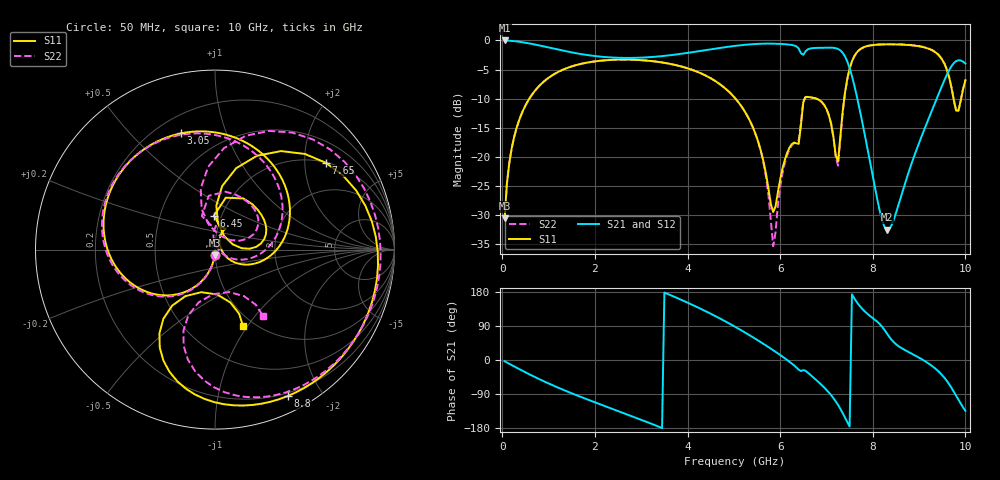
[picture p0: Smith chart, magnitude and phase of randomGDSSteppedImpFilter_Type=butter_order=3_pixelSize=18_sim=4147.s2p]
! freq	dB(S11)	phase(S11)	dB(S12)	phase(S12)
!  dB(S21)	phase(S21)	dB(S22)	phase(S22)
!S-par simulation data
#  GHz  S  DB  R 50
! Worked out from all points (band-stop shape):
!   200 points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, 50 MHz to 10 GHz, reference 50 ohm
!   highest |S21| = -0.01 dB at 50 MHz (marker M1); lowest = -32.5 dB at 8.3 GHz (marker M2)
!   |S21| within 3 dB of the highest: start of sweep to 2.68 GHz; 2.745 GHz to 7.415 GHz (4.67 GHz wide, 91.9 % of centre)
!   lowest |S11| = -30.6 dB at 50 MHz (marker M3), VSWR 1.06, Z = 49.7 - j2.94 ohm
!   |S11| at or under -10 dB: start of sweep to 584.8 MHz; 5.035 GHz to 6.534 GHz (1.499 GHz wide, 25.9 % of centre); 6.785 GHz to 7.384 GHz (599.5 MHz wide, 8.46 % of centre) (the widest 3 of 4)
!   |S22| runs from -35.3 to -0.6 dB; largest |S21 - S12| = 0
!   S11 on the Smith chart (normalised r, x): 50 MHz: 0.99, -0.06; 3.05 GHz: 0.30, +0.71; 6.45 GHz: 0.92, +0.36; 7.65 GHz: 1.01, +2.55; 8.8 GHz: 0.17, -1.60; 10 GHz: 0.89, -0.96
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0.05  -30.57 -93.5  -0.01 -3.4  -0.01 -3.4  -30.59 -93.1
0.2  -18.65 -104.0  -0.08 -13.3  -0.08 -13.3  -18.66 -103.6
0.5  -11.18 -123.6  -0.39 -32.5  -0.39 -32.5  -11.18 -122.6
1.75  -3.94 167.7  -2.41 -100.0  -2.41 -100.0  -3.94 171.2
3.05  -3.42 106.3  -2.94 -160.0  -2.94 -160.0  -3.41 113.1
3.4  -3.72 89.0  -2.73 -177.1  -2.73 -177.1  -3.72 96.7
4.25  -5.52 43.0  -1.84 137.2  -1.84 137.2  -5.51 53.1
5.05  -10.13 -6.1  -0.91 86.1  -0.91 86.1  -10.12 5.3
5.6  -19.45 -34.4  -0.57 45.7  -0.57 45.7  -19.61 -27.9
5.85  -29.47 16.0  -0.56 25.8  -0.56 25.8  -35.33 24.1
6.05  -22.02 68.1  -0.62 9.0  -0.62 9.0  -22.83 97.1
6.45  -14.48 91.9  -2.21 -29.2  -2.21 -29.2  -13.93 111.3
6.7  -9.82 36.8  -1.32 -44.2  -1.32 -44.2  -9.86 55.7
7.25  -20.81 55.5  -1.47 -118.6  -1.47 -118.6  -21.52 73.4
7.45  -6.58 75.4  -3.62 -163.8  -3.62 -163.8  -6.68 94.7
7.65  -2.11 38.1  -9.40 153.6  -9.40 153.6  -2.15 56.6
8.3  -0.67 -30.1  -32.50 71.0  -32.50 71.0  -0.66 -13.0
8.35  -0.67 -33.7  -32.41 62.2  -32.41 62.2  -0.65 -16.7
8.8  -0.81 -63.5  -22.01 19.4  -22.01 19.4  -0.77 -47.1
9.6  -5.04 -123.6  -5.89 -55.2  -5.89 -55.2  -4.98 -108.1
9.8  -12.07 -107.9  -3.55 -94.2  -3.55 -94.2  -12.09 -92.6
10  -6.83 -69.9  -3.96 -134.2  -3.96 -134.2  -6.82 -54.0
